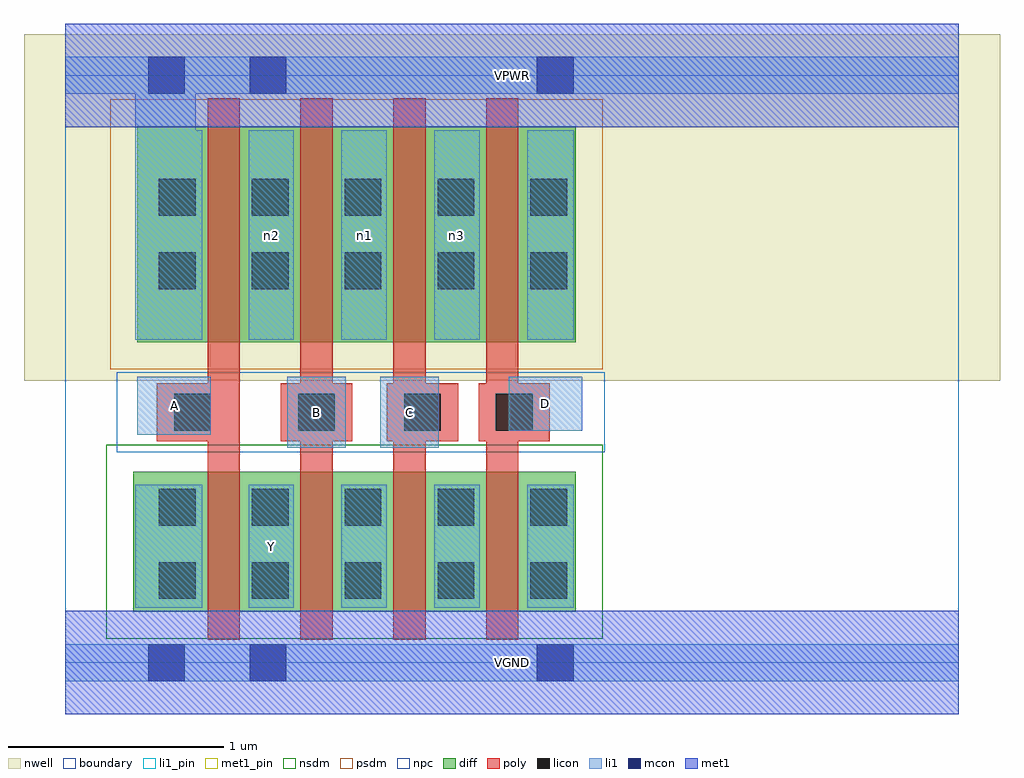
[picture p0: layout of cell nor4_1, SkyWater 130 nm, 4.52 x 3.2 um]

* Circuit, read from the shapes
.subckt nor4_1 A B C D VGND VPWR Y n1 n2 n3
XM1 Y A n4 VSUBS sky130_fd_pr__nfet_01v8 w=0.65 l=0.15
XM2 n5 B Y VSUBS sky130_fd_pr__nfet_01v8 w=0.65 l=0.15
XM3 n6 C n5 VSUBS sky130_fd_pr__nfet_01v8 w=0.65 l=0.15
XM4 n7 D n6 VSUBS sky130_fd_pr__nfet_01v8 w=0.65 l=0.15
XM5 n2 A VPWR n8 sky130_fd_pr__pfet_01v8 w=1 l=0.15
XM6 n1 B n2 n8 sky130_fd_pr__pfet_01v8 w=1 l=0.15
XM7 n3 C n1 n8 sky130_fd_pr__pfet_01v8 w=1 l=0.15
XM8 n9 D n3 n8 sky130_fd_pr__pfet_01v8 w=1 l=0.15
.ends

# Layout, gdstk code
import gdstk
lib = gdstk.Library(unit=1e-6, precision=1e-09)
def R(c, l, rs):  # rectangles x0, y0, x1, y1
    for r in rs: c.add(gdstk.rectangle(r[:2], r[2:], *l))
def A(c, l, x, y, w, h, nx, ny, dx, dy):  # array of equal rectangles
    R(c, l, [(x+i*dx, y+j*dy, x+i*dx+w, y+j*dy+h) for i in range(nx) for j in range(ny)])
nwell = (64, 20)
diff = (65, 20)
poly = (66, 20)
licon = (66, 44)
li1_pin = (67, 16)
li1 = (67, 20)
mcon = (67, 44)
met1_pin = (68, 16)
met1 = (68, 20)
nsdm = (93, 44)
psdm = (94, 20)
npc = (95, 20)
boundary = (235, 4)

nor4_1 = lib.new_cell('nor4_1')
R(nor4_1, nwell, [(-0.19,1.305,4.33,2.91), (0,1.305,4.14,2.91)])
R(nor4_1, diff, [(0.315,0.235,2.365,0.885), (0.335,1.485,2.365,2.485)])
A(nor4_1, poly, 0.66, 0.105, 0.15, 2.51, 4, 1, 0.43, 0)
R(nor4_1, poly, [(0.425,1.025,0.755,1.295), (1,1.025,1.33,1.295), (1.49,1.025,1.82,1.295), (1.915,1.025,2.245,1.295)])
A(nor4_1, licon, 0.435, 0.295, 0.17, 0.17, 5, 2, 0.43, 0.34)
A(nor4_1, licon, 0.435, 1.73, 0.17, 0.17, 5, 2, 0.43, 0.34)
R(nor4_1, licon, [(0.505,1.075,0.675,1.245), (1.08,1.075,1.25,1.245), (1.57,1.075,1.74,1.245), (1.995,1.075,2.165,1.245)])
R(nor4_1, li1_pin, [(0.85,0.255,1.06,0.825), (1.03,0.995,1.3,1.325), (1.46,0.995,1.73,1.325), (0.335,1.055,0.675,1.325), (2.055,1.075,2.395,1.325)])
A(nor4_1, li1, 0.85, 0.255, 0.21, 0.57, 3, 1, 0.43, 0)
A(nor4_1, li1, 0.85, 1.495, 0.21, 0.97, 3, 1, 0.43, 0)
R(nor4_1, li1, [(0,-0.085,4.14,0.085), (0.325,0.255,0.635,0.825), (2.14,0.255,2.355,0.825), (1.03,0.995,1.3,1.325), (1.46,0.995,1.73,1.325), (0.335,1.055,0.675,1.325), (2.055,1.075,2.395,1.325), (0.325,1.495,0.635,2.465), (0.325,1.495,0.605,2.805), (2.14,1.495,2.355,2.465), (0,2.635,4.14,2.805)])
R(nor4_1, mcon, [(0.385,-0.085,0.555,0.085), (0.855,-0.085,1.025,0.085), (2.185,-0.085,2.355,0.085), (0.385,2.635,0.555,2.805), (0.855,2.635,1.025,2.805), (2.185,2.635,2.355,2.805)])
R(nor4_1, met1_pin, [(0,-0.24,4.14,0.24), (0,2.48,4.14,2.96)])
R(nor4_1, met1, [(0,-0.24,4.14,0.24), (0,2.48,4.14,2.96)])
R(nor4_1, nsdm, [(0.19,0.11,2.49,1.01)])
R(nor4_1, psdm, [(0.21,1.36,2.49,2.61)])
R(nor4_1, npc, [(0.24,0.975,2.5,1.345)])
R(nor4_1, boundary, [(0,0,4.14,2.72)])
nor4_1.add(gdstk.Label('A', (0.505,1.19), layer=67, texttype=5))
nor4_1.add(gdstk.Label('B', (1.165,1.16), layer=67, texttype=5))
nor4_1.add(gdstk.Label('C', (1.595,1.16), layer=67, texttype=5))
nor4_1.add(gdstk.Label('D', (2.225,1.2), layer=67, texttype=5))
nor4_1.add(gdstk.Label('Y', (0.955,0.54), layer=67, texttype=5))
nor4_1.add(gdstk.Label('n2', (0.955,1.98), layer=67, texttype=5))
nor4_1.add(gdstk.Label('n1', (1.385,1.98), layer=67, texttype=5))
nor4_1.add(gdstk.Label('n3', (1.815,1.98), layer=67, texttype=5))
nor4_1.add(gdstk.Label('VPWR', (2.07,2.72), layer=68, texttype=5))
nor4_1.add(gdstk.Label('VGND', (2.07,0), layer=68, texttype=5))
nor4_1.add(gdstk.Label('A', (0.505,1.19), layer=67, texttype=16))
nor4_1.add(gdstk.Label('B', (1.165,1.16), layer=67, texttype=16))
nor4_1.add(gdstk.Label('C', (1.595,1.16), layer=67, texttype=16))
nor4_1.add(gdstk.Label('D', (2.225,1.2), layer=67, texttype=16))
nor4_1.add(gdstk.Label('Y', (0.955,0.54), layer=67, texttype=16))
nor4_1.add(gdstk.Label('VPWR', (2.07,2.72), layer=68, texttype=16))
nor4_1.add(gdstk.Label('VGND', (2.07,0), layer=68, texttype=16))

lib.write_gds('nor4_1.gds')
